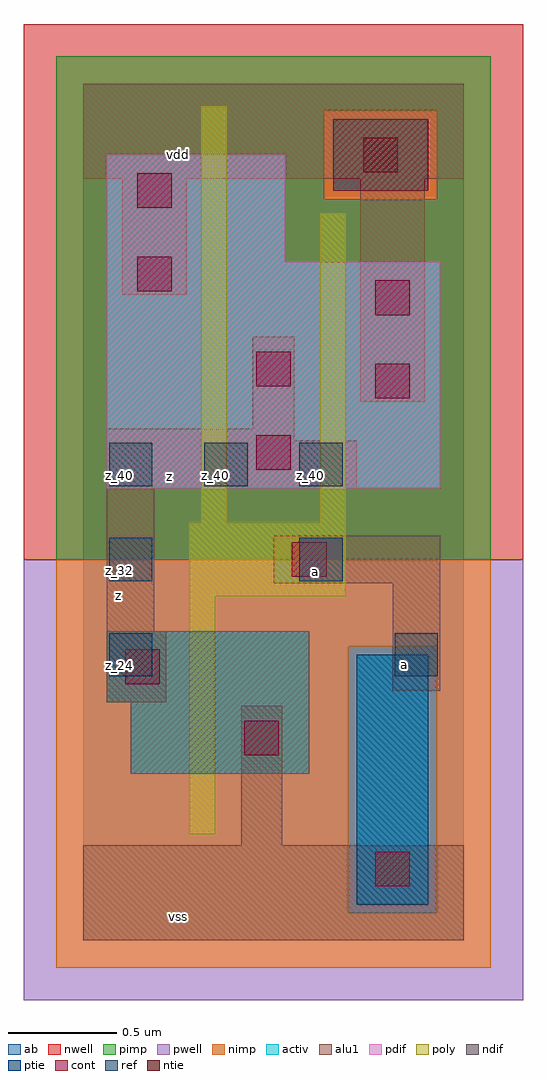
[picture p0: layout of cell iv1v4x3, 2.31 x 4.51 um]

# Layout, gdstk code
import gdstk
lib = gdstk.Library(unit=1e-6, precision=2.5e-09)
def R(c, l, rs):  # rectangles x0, y0, x1, y1
    for r in rs: c.add(gdstk.rectangle(r[:2], r[2:], *l))
def A(c, l, x, y, w, h, nx, ny, dx, dy):  # array of equal rectangles
    R(c, l, [(x+i*dx, y+j*dy, x+i*dx+w, y+j*dy+h) for i in range(nx) for j in range(ny)])
ndif = (3, 0)
pdif = (4, 0)
ntie = (5, 0)
ptie = (6, 0)
ref = (24, 0)
cont = (25, 0)
pwell = (41, 0)
nwell = (42, 0)
activ = (43, 0)
pimp = (44, 0)
nimp = (45, 0)
poly = (46, 0)
alu1 = (49, 0)
ab = (63, 0)

iv1v4x3 = lib.new_cell('iv1v4x3')
R(iv1v4x3, ndif, [(0.22,0.77,1.045,1.1), (0.11,1.1,1.045,1.43)])
R(iv1v4x3, pdif, [(0.11,2.09,1.65,3.135), (0.11,3.135,0.935,3.63)])
R(iv1v4x3, ntie, [(1.155,3.465,1.595,3.795)])
R(iv1v4x3, ptie, [(1.265,0.165,1.595,1.32)])
A(iv1v4x3, ref, 0.12, 2.1, 0.2, 0.2, 3, 1, 0.44, 0)
R(iv1v4x3, ref, [(0.12,1.22,0.32,1.42), (1.44,1.22,1.64,1.42), (0.12,1.66,0.32,1.86), (1,1.66,1.2,1.86)])
R(iv1v4x3, cont, [(1.35,0.25,1.51,0.41), (0.745,0.855,0.905,1.015), (0.195,1.185,0.355,1.345), (0.965,1.68,1.125,1.84), (0.8,2.175,0.96,2.335), (1.35,2.505,1.51,2.665), (0.8,2.56,0.96,2.72), (1.35,2.89,1.51,3.05), (0.25,3,0.41,3.16), (0.25,3.385,0.41,3.545), (1.295,3.55,1.455,3.71)])
R(iv1v4x3, pwell, [(-0.275,-0.275,2.035,1.76)])
R(iv1v4x3, nwell, [(-0.275,1.76,2.035,4.235)])
R(iv1v4x3, activ, [(1.265,0.165,1.595,1.32), (0.22,0.77,1.045,1.1), (0.11,1.1,1.045,1.43), (0.11,2.09,1.65,3.135), (0.11,3.135,0.935,3.63), (1.155,3.465,1.595,3.795)])
R(iv1v4x3, pimp, [(1.225,0.125,1.635,1.36), (-0.125,1.76,1.885,3.425), (-0.125,3.425,1.115,3.835), (1.635,3.425,1.885,3.835), (-0.125,3.835,1.885,4.085)])
R(iv1v4x3, nimp, [(-0.125,-0.125,1.885,0.125), (-0.125,0.125,1.225,1.36), (1.635,0.125,1.885,1.36), (-0.125,1.36,1.885,1.76), (1.115,3.425,1.635,3.835)])
R(iv1v4x3, poly, [(0.49,0.49,0.61,1.59), (0.49,1.59,1.215,1.93), (0.545,1.93,0.665,3.855), (1.095,1.93,1.215,3.36)])
R(iv1v4x3, alu1, [(0,0,1.76,0.44), (0.73,0.44,0.92,1.085), (0.11,1.1,0.385,1.43), (1.43,1.155,1.65,1.65), (0.11,1.43,0.33,2.09), (0.88,1.65,1.65,1.87), (0.11,2.09,1.265,2.31), (0.11,2.31,0.975,2.365), (0.785,2.365,0.975,2.79), (1.28,2.49,1.58,3.52), (0.18,2.985,0.48,3.52), (0,3.52,1.76,3.96)])
R(iv1v4x3, ab, [(0,0,1.76,3.96)])
iv1v4x3.add(gdstk.Label('vss', (0.44,0.11), layer=49, texttype=0))
iv1v4x3.add(gdstk.Label('a', (1.485,1.2775), layer=49, texttype=0))
iv1v4x3.add(gdstk.Label('a', (1.0725,1.705), layer=49, texttype=0))
iv1v4x3.add(gdstk.Label('z', (0.165,1.595), layer=49, texttype=0))
iv1v4x3.add(gdstk.Label('z', (0.3975,2.145), layer=49, texttype=0))
iv1v4x3.add(gdstk.Label('vdd', (0.44,3.63), layer=49, texttype=0))
iv1v4x3.add(gdstk.Label('z_40', (0.61,2.15), layer=24, texttype=0))
iv1v4x3.add(gdstk.Label('a_32', (1.05,1.71), layer=24, texttype=0))
iv1v4x3.add(gdstk.Label('z_40', (1.05,2.15), layer=24, texttype=0))
iv1v4x3.add(gdstk.Label('a_24', (1.49,1.27), layer=24, texttype=0))
iv1v4x3.add(gdstk.Label('z_24', (0.17,1.27), layer=24, texttype=0))
iv1v4x3.add(gdstk.Label('z_32', (0.17,1.71), layer=24, texttype=0))
iv1v4x3.add(gdstk.Label('z_40', (0.17,2.15), layer=24, texttype=0))

lib.write_gds('iv1v4x3.gds')
